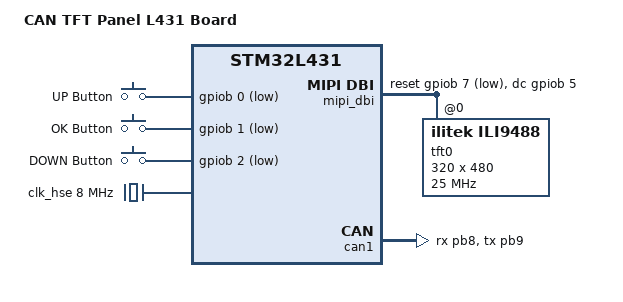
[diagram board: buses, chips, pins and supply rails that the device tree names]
/*
 * Copyright (c) 2026 Oleksii Mamontov <mamontov1@gmail.com>
 *
 * SPDX-License-Identifier: Apache-2.0
 */

/dts-v1/;
#include <st/l4/stm32l431Xc.dtsi>
#include <st/l4/stm32l431c(b-c)ux-pinctrl.dtsi>

/ {
	model = "CAN TFT Panel L431 Board";
	compatible = "st,stm32l431-can-tft";

	chosen {
		zephyr,sram = &sram0;
		zephyr,flash = &flash0;
		zephyr,canbus = &can1;
		zephyr,display = &tft0;
	};

	/* Програмна шина MIPI DBI (8080 Parallel) */
	mipi_dbi {
		compatible = "zephyr,mipi-dbi-bitbang";
		#address-cells = <1>;
		#size-cells = <0>; 

		/* Керуючі сигнали шини */
		dc-gpios = <&gpiob 5 GPIO_ACTIVE_HIGH>;   /* RS / Command-Data */
		wr-gpios = <&gpiob 4 GPIO_ACTIVE_HIGH>;   /* Write strobe */
		rd-gpios = <&gpiob 3 GPIO_ACTIVE_HIGH>;   /* Read strobe */
		cs-gpios = <&gpiob 6 GPIO_ACTIVE_LOW>;    /* Chip Select */
		
		/* ОБОВ'ЯЗКОВО для Zephyr 4.x: reset має бути у вузлі mipi_dbi */
		reset-gpios = <&gpiob 7 GPIO_ACTIVE_LOW>; 
		
		/* 8-бітна шина даних PA0-PA7[cite: 1] */
		data-gpios = <&gpioa 0 GPIO_ACTIVE_HIGH>,
			     <&gpioa 1 GPIO_ACTIVE_HIGH>,
			     <&gpioa 2 GPIO_ACTIVE_HIGH>,
			     <&gpioa 3 GPIO_ACTIVE_HIGH>,
			     <&gpioa 4 GPIO_ACTIVE_HIGH>,
			     <&gpioa 5 GPIO_ACTIVE_HIGH>,
			     <&gpioa 6 GPIO_ACTIVE_HIGH>,
			     <&gpioa 7 GPIO_ACTIVE_HIGH>;

		tft0: ili9488@0 {
			compatible = "ilitek,ili9488";
			reg = <0>;
			width = <320>;
			height = <480>;
			mipi-max-frequency = <25000000>;
			/* Режим для паралельної шини в bitbang */
			mipi-mode = "MIPI_DBI_MODE_8080_BUS_8_BIT";
			pixel-format = <1>; /* RGB565 */

		};
	};

	/* Кнопки керування[cite: 1] */
	buttons {
		compatible = "gpio-keys";
		up_button: button_0 {
			gpios = <&gpiob 0 (GPIO_PULL_UP | GPIO_ACTIVE_LOW)>;
			label = "UP Button";
		};
		ok_button: button_1 {
			gpios = <&gpiob 1 (GPIO_PULL_UP | GPIO_ACTIVE_LOW)>;
			label = "OK Button";
		};
		down_button: button_2 {
			gpios = <&gpiob 2 (GPIO_PULL_UP | GPIO_ACTIVE_LOW)>;
			label = "DOWN Button";
		};
	};

	aliases {
		sw0 = &up_button;
		sw1 = &ok_button;
		sw2 = &down_button;
	};
};

/* Налаштування системи тактування (80 MHz)[cite: 1] */
&clk_lsi { status = "okay"; };
&clk_hse {
	clock-frequency = <DT_FREQ_M(8)>;
	status = "okay";
};

&pll {
	div-m = <1>;
	mul-n = <20>;
	div-p = <7>;
	div-q = <2>;
	div-r = <4>;
	clocks = <&clk_hse>;
	status = "okay";
};

&rcc {
	clocks = <&pll>;
	clock-frequency = <DT_FREQ_M(80)>;
	ahb-prescaler = <1>;
	apb1-prescaler = <1>;
	apb2-prescaler = <1>;
};

/* Конфігурація CAN-шини[cite: 1] */
&can1 {
	pinctrl-0 = <&can1_rx_pb8 &can1_tx_pb9>;
	pinctrl-names = "default";
	status = "okay";
};

/* Флеш-пам'ять для зберігання налаштувань[cite: 1] */
&flash0 {
	partitions {
		#address-cells = <1>;
		#size-cells = <1>;
		ranges;
		storage_partition: partition@3c000 {
			compatible = "zephyr,mapped-partition";
			label = "storage";
			reg = <0x0003c000 DT_SIZE_K(16)>;
		};
	};
};

/* Відключення непотрібної периферії[cite: 1] */
&usart1 { status = "disabled"; };
&usart2 { status = "disabled"; };
&spi1 { status = "disabled"; };
&i2c1 { status = "disabled"; };
&timers2 { status = "disabled"; };
